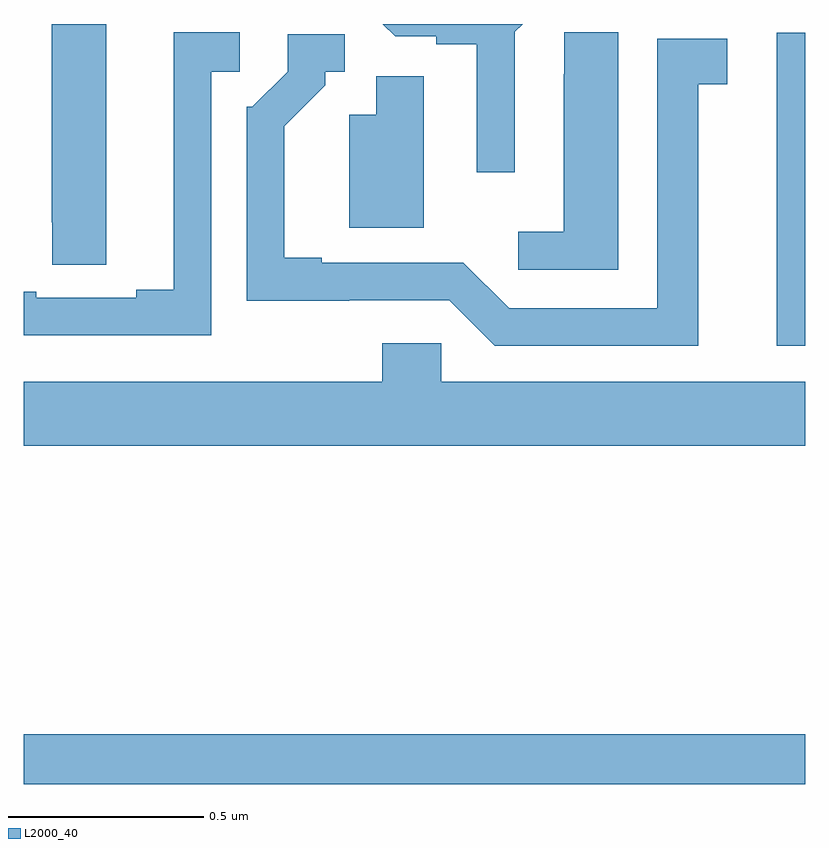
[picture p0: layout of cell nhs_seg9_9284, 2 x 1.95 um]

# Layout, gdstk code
import gdstk
lib = gdstk.Library(unit=1e-6, precision=1e-09)
def R(c, l, rs):  # rectangles x0, y0, x1, y1
    for r in rs: c.add(gdstk.rectangle(r[:2], r[2:], *l))
def P(c, l, *ps):  # polygons
    for p in ps: c.add(gdstk.Polygon(p, *l))
L2000_40 = (2000, 40)

nhs_seg9_9284 = lib.new_cell('nhs_seg9_9284')
R(nhs_seg9_9284, L2000_40, [(228,1195.554,230,1195.682), (229.928,1196.676,230,1197.478)])
P(nhs_seg9_9284, L2000_40, [(228.211,1197.5),(228.071,1197.5),(228.071,1196.992),(228.072,1196.992),(228.072,1196.884),(228.211,1196.884)],
  [(229.257,1197.48),(229.277,1197.5),(228.919,1197.5),(228.951,1197.468),(229.056,1197.468),(229.056,1197.448),(229.16,1197.448),(229.16,1197.12),(229.257,1197.12)],
  [(228.48,1197.378),(228.553,1197.378),(228.553,1197.479),(228.383,1197.479),(228.383,1196.819),(228.287,1196.819),(228.287,1196.799),(228.031,1196.799),(228.031,1196.814),(228,1196.814),(228,1196.703),(228.48,1196.703)],
  [(229.522,1197.479),(229.383,1197.479),(229.383,1197.371),(229.382,1197.371),(229.382,1196.968),(229.266,1196.968),(229.266,1196.871),(229.522,1196.871)],
  [(229.726,1197.346),(229.801,1197.346),(229.801,1197.462),(229.622,1197.462),(229.622,1196.772),(229.242,1196.772),(229.125,1196.889),(228.763,1196.889),(228.763,1196.902),(228.667,1196.902),(228.667,1197.238),(228.772,1197.343),(228.772,1197.378),(228.822,1197.378),(228.822,1197.474),(228.675,1197.474),(228.675,1197.378),(228.585,1197.288),(228.57,1197.288),(228.57,1196.792),(228.833,1196.792),(228.833,1196.793),(229.089,1196.793),(229.206,1196.676),(229.726,1196.676)],
  [(229.024,1197.366),(228.902,1197.366),(228.902,1197.268),(228.833,1197.268),(228.833,1196.978),(229.024,1196.978)],
  [(230,1196.584),(229.068,1196.584),(229.068,1196.682),(228.917,1196.682),(228.917,1196.584),(228,1196.584),(228,1196.42),(230,1196.42)])

lib.write_gds('nhs_seg9_9284.gds')
